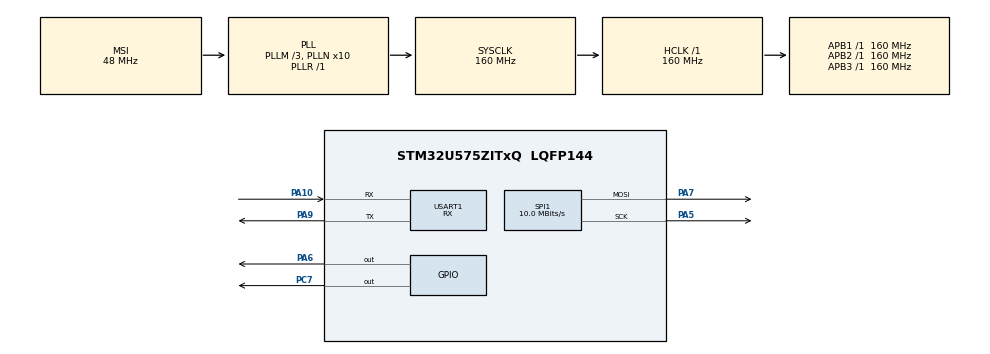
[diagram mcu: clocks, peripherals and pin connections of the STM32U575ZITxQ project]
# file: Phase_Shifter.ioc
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CORTEX_M33_NS.userName=CORTEX_M33
Mcu.Family=STM32U5
Mcu.Name=STM32U575ZITxQ
Mcu.Package=LQFP144
NVIC.PriorityGroup=NVIC_PRIORITYGROUP_3
NVIC.USART1_IRQn=true\:0\:0\:false\:false\:true\:true\:true\:true
PA10.Mode=Asynchronous
PA10.Signal=USART1_RX
PA10.TagName=VCP_RX
PA13\ (JTMS/SWDIO).Mode=Serial_Wire
PA13\ (JTMS/SWDIO).Signal=DEBUG_JTMS-SWDIO
PA14\ (JTCK/SWCLK).Mode=Serial_Wire
PA14\ (JTCK/SWCLK).Signal=DEBUG_JTCK-SWCLK
PA5.Mode=TX_Only_Simplex_Unidirect_Master
PA5.Signal=SPI1_SCK
PA6.GPIO_Speed=GPIO_SPEED_FREQ_VERY_HIGH
PA6.Signal=GPIO_Output
PA7.Mode=TX_Only_Simplex_Unidirect_Master
PA7.Signal=SPI1_MOSI
PA9.Mode=Asynchronous
PA9.Signal=USART1_TX
PA9.TagName=VCP_TX
PC7.Signal=GPIO_Output
PWR.PowerMode=PWR_SMPS_SUPPLY
ProjectManager.HeapSize=0x200
ProjectManager.StackSize=0x400
ProjectManager.TargetToolchain=STM32CubeIDE
RCC.ADCFreq_Value=16000000
RCC.AHBFreq_Value=160000000
RCC.APB1Freq_Value=160000000
RCC.APB1TimFreq_Value=160000000
RCC.APB2Freq_Value=160000000
RCC.APB2TimFreq_Value=160000000
RCC.APB3Freq_Value=160000000
RCC.CortexFreq_Value=160000000
RCC.DACCLockSelectionVirtual=RCC_DAC1CLKSOURCE_LSI
RCC.EPOD_VALUE=48000000
RCC.HCLKFreq_Value=160000000
RCC.HSE_VALUE=16000000
RCC.HSI48_VALUE=48000000
RCC.HSI_VALUE=16000000
RCC.LSE_VALUE=32768
RCC.LSIDIV_VALUE=32000
RCC.MSIClockRange=RCC_MSIRANGE_0
RCC.MSI_VALUE=48000000
RCC.PLL1R=1
RCC.PLL2FRACN=0
RCC.PLL3FRACN=0
RCC.PLLFRACN=0
RCC.PLLM=3
RCC.PLLN=10
RCC.SYSCLKFreq_VALUE=160000000
RCC.SYSCLKSource=RCC_SYSCLKSOURCE_PLLCLK
RCC.USBFreq_Value=48000000
RCC.VCOOutputFreq_Value=160000000
SPI1.BaudRatePrescaler=SPI_BAUDRATEPRESCALER_16
SPI1.CalculateBaudRate=10.0 MBits/s
SPI1.DataSize=SPI_DATASIZE_16BIT
SPI1.Direction=SPI_DIRECTION_2LINES_TXONLY
SPI1.FirstBit=SPI_FIRSTBIT_LSB
SPI1.Mode=SPI_MODE_MASTER
SPI1.VirtualType=VM_MASTER
USART1.Mode=MODE_RX
USART1.VirtualMode-Asynchronous=VM_ASYNC
VP_ICACHE_VS_ICACHE.Mode=DirectMappedCache
VP_LPBAMQUEUE_VS_QUEUE.Mode=QUEUEMODE
VP_LPBAM_VS_SIG1.Mode=SmartRun
VP_LPBAM_VS_SIG4.Mode=LPDMA1
VP_MEMORYMAP_VS_MEMORYMAP.Mode=CurAppReg
VP_PWR_VS_LPOM.Mode=PowerOptimisation
VP_PWR_VS_SECSignals.Mode=Security/Privilege
board=NUCLEO-U575ZI-Q

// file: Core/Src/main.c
/* USER CODE BEGIN Header */
/**
  ******************************************************************************
  * @file           : main.c
  * @brief          : Main program body
  ******************************************************************************
  * @attention
  *
  * Copyright (c) 2026 STMicroelectronics.
  * All rights reserved.
  *
  * This software is licensed under terms that can be found in the LICENSE file
  * in the root directory of this software component.
  * If no LICENSE file comes with this software, it is provided AS-IS.
  *
  ******************************************************************************
  */
/* USER CODE END Header */
#include "main.h"

SPI_HandleTypeDef hspi1;

UART_HandleTypeDef huart1;

/* USER CODE BEGIN PV */
uint8_t rx_buffer[16]; //raw bytes from GUI
uint16_t spi_buf1[16]; //processed words for channel 1
/* USER CODE END PV */

void SystemClock_Config(void);
static void SystemPower_Config(void);
static void MX_GPIO_Init(void);
static void MX_SPI1_Init(void);
static void MX_ICACHE_Init(void);
static void MX_USART1_UART_Init(void);
/* USER CODE BEGIN PFP */
void ProcessPhases(uint8_t *raw);
void RunSpiBurst(void);
/* USER CODE END PFP */

/* USER CODE BEGIN 0 */
void ProcessPhases(uint8_t *raw){
	for (int i = 0; i < 16; i++){
		uint8_t phase = raw[i];
		//bit packaging logic form control word
		uint16_t control_word = ((i << 9) | ((phase & 0x40) << 2) | phase) << 3;
		spi_buf1[i] = control_word;
	}
}

void RunSpiBurst(void){
    for (int step = 0; step < 16; step++){
        // Pass the ADDRESS (&), and send 1 item per step
        HAL_SPI_Transmit(&hspi1, (uint8_t *)&spi_buf1[step], 1, 10);

        // Pulse the latch AFTER EACH word is sent
        __NOP();__NOP();__NOP();
        GPIOA->BSRR = GPIO_BSRR_BS6; // Set PD15 High
        __NOP(); __NOP(); __NOP(); __NOP(); __NOP(); __NOP();
        GPIOA->BSRR = GPIO_BSRR_BR6; // Set PD15 Low
        __NOP();__NOP();__NOP();

    }
}

/* USER CODE END 0 */

int main(void)
{

  /* MCU Configuration--------------------------------------------------------*/

  /* Reset of all peripherals, Initializes the Flash interface and the Systick. */
  HAL_Init();

  /* Configure the System Power */
  SystemPower_Config();

  /* Configure the system clock */
  SystemClock_Config();

  /* Initialize all configured peripherals */
  MX_GPIO_Init();
  MX_SPI1_Init();
  MX_ICACHE_Init();
  MX_USART1_UART_Init();

  /* Infinite loop */
  /* USER CODE BEGIN WHILE */
  while (1)
  {
	  if(HAL_UART_Receive(&huart1, rx_buffer, 16, HAL_MAX_DELAY)==HAL_OK){
		  HAL_GPIO_TogglePin(GPIOC, GPIO_PIN_7);//show activity
		  //run logic
		  ProcessPhases(rx_buffer);
		  RunSpiBurst();
	  }
  }
    /* USER CODE END WHILE */

}

void SystemClock_Config(void)
{
  RCC_OscInitTypeDef RCC_OscInitStruct = {0};
  RCC_ClkInitTypeDef RCC_ClkInitStruct = {0};

  /** Configure the main internal regulator output voltage
  */
  if (HAL_PWREx_ControlVoltageScaling(PWR_REGULATOR_VOLTAGE_SCALE1) != HAL_OK)
  {
    Error_Handler();
  }

  /** Initializes the CPU, AHB and APB buses clocks
  */
  RCC_OscInitStruct.OscillatorType = RCC_OSCILLATORTYPE_MSI;
  RCC_OscInitStruct.MSIState = RCC_MSI_ON;
  RCC_OscInitStruct.MSICalibrationValue = RCC_MSICALIBRATION_DEFAULT;
  RCC_OscInitStruct.MSIClockRange = RCC_MSIRANGE_0;
  RCC_OscInitStruct.PLL.PLLState = RCC_PLL_ON;
  RCC_OscInitStruct.PLL.PLLSource = RCC_PLLSOURCE_MSI;
  RCC_OscInitStruct.PLL.PLLMBOOST = RCC_PLLMBOOST_DIV4;
  RCC_OscInitStruct.PLL.PLLM = 3;
  RCC_OscInitStruct.PLL.PLLN = 10;
  RCC_OscInitStruct.PLL.PLLP = 2;
  RCC_OscInitStruct.PLL.PLLQ = 2;
  RCC_OscInitStruct.PLL.PLLR = 1;
  RCC_OscInitStruct.PLL.PLLRGE = RCC_PLLVCIRANGE_1;
  RCC_OscInitStruct.PLL.PLLFRACN = 0;
  if (HAL_RCC_OscConfig(&RCC_OscInitStruct) != HAL_OK)
  {
    Error_Handler();
  }

  /** Initializes the CPU, AHB and APB buses clocks
  */
  RCC_ClkInitStruct.ClockType = RCC_CLOCKTYPE_HCLK|RCC_CLOCKTYPE_SYSCLK
                              |RCC_CLOCKTYPE_PCLK1|RCC_CLOCKTYPE_PCLK2
                              |RCC_CLOCKTYPE_PCLK3;
  RCC_ClkInitStruct.SYSCLKSource = RCC_SYSCLKSOURCE_PLLCLK;
  RCC_ClkInitStruct.AHBCLKDivider = RCC_SYSCLK_DIV1;
  RCC_ClkInitStruct.APB1CLKDivider = RCC_HCLK_DIV1;
  RCC_ClkInitStruct.APB2CLKDivider = RCC_HCLK_DIV1;
  RCC_ClkInitStruct.APB3CLKDivider = RCC_HCLK_DIV1;

  if (HAL_RCC_ClockConfig(&RCC_ClkInitStruct, FLASH_LATENCY_4) != HAL_OK)
  {
    Error_Handler();
  }
}

/**
  * @brief Power Configuration
  * @retval None
  */
static void SystemPower_Config(void)
{

  /*
   * Switch to SMPS regulator instead of LDO
   */
  if (HAL_PWREx_ConfigSupply(PWR_SMPS_SUPPLY) != HAL_OK)
  {
    Error_Handler();
  }
}

static void MX_ICACHE_Init(void)
{

  /** Enable instruction cache in 1-way (direct mapped cache)
  */
  if (HAL_ICACHE_ConfigAssociativityMode(ICACHE_1WAY) != HAL_OK)
  {
    Error_Handler();
  }
  if (HAL_ICACHE_Enable() != HAL_OK)
  {
    Error_Handler();
  }

}

static void MX_SPI1_Init(void)
{

  SPI_AutonomousModeConfTypeDef HAL_SPI_AutonomousMode_Cfg_Struct = {0};

  /* SPI1 parameter configuration*/
  hspi1.Instance = SPI1;
  hspi1.Init.Mode = SPI_MODE_MASTER;
  hspi1.Init.Direction = SPI_DIRECTION_2LINES_TXONLY;
  hspi1.Init.DataSize = SPI_DATASIZE_16BIT;
  hspi1.Init.CLKPolarity = SPI_POLARITY_LOW;
  hspi1.Init.CLKPhase = SPI_PHASE_1EDGE;
  hspi1.Init.NSS = SPI_NSS_SOFT;
  hspi1.Init.BaudRatePrescaler = SPI_BAUDRATEPRESCALER_16;
  hspi1.Init.FirstBit = SPI_FIRSTBIT_LSB;
  hspi1.Init.TIMode = SPI_TIMODE_DISABLE;
  hspi1.Init.CRCCalculation = SPI_CRCCALCULATION_DISABLE;
  hspi1.Init.CRCPolynomial = 0x7;
  hspi1.Init.NSSPMode = SPI_NSS_PULSE_ENABLE;
  hspi1.Init.NSSPolarity = SPI_NSS_POLARITY_LOW;
  hspi1.Init.FifoThreshold = SPI_FIFO_THRESHOLD_01DATA;
  hspi1.Init.MasterSSIdleness = SPI_MASTER_SS_IDLENESS_00CYCLE;
  hspi1.Init.MasterInterDataIdleness = SPI_MASTER_INTERDATA_IDLENESS_00CYCLE;
  hspi1.Init.MasterReceiverAutoSusp = SPI_MASTER_RX_AUTOSUSP_DISABLE;
  hspi1.Init.MasterKeepIOState = SPI_MASTER_KEEP_IO_STATE_DISABLE;
  hspi1.Init.IOSwap = SPI_IO_SWAP_DISABLE;
  hspi1.Init.ReadyMasterManagement = SPI_RDY_MASTER_MANAGEMENT_INTERNALLY;
  hspi1.Init.ReadyPolarity = SPI_RDY_POLARITY_HIGH;
  if (HAL_SPI_Init(&hspi1) != HAL_OK)
  {
    Error_Handler();
  }
  HAL_SPI_AutonomousMode_Cfg_Struct.TriggerState = SPI_AUTO_MODE_DISABLE;
  HAL_SPI_AutonomousMode_Cfg_Struct.TriggerSelection = SPI_GRP1_GPDMA_CH0_TCF_TRG;
  HAL_SPI_AutonomousMode_Cfg_Struct.TriggerPolarity = SPI_TRIG_POLARITY_RISING;
  if (HAL_SPIEx_SetConfigAutonomousMode(&hspi1, &HAL_SPI_AutonomousMode_Cfg_Struct) != HAL_OK)
  {
    Error_Handler();
  }

}

static void MX_USART1_UART_Init(void)
{

  huart1.Instance = USART1;
  huart1.Init.BaudRate = 115200;
  huart1.Init.WordLength = UART_WORDLENGTH_8B;
  huart1.Init.StopBits = UART_STOPBITS_1;
  huart1.Init.Parity = UART_PARITY_NONE;
  huart1.Init.Mode = UART_MODE_RX;
  huart1.Init.HwFlowCtl = UART_HWCONTROL_NONE;
  huart1.Init.OverSampling = UART_OVERSAMPLING_16;
  huart1.Init.OneBitSampling = UART_ONE_BIT_SAMPLE_DISABLE;
  huart1.Init.ClockPrescaler = UART_PRESCALER_DIV1;
  huart1.AdvancedInit.AdvFeatureInit = UART_ADVFEATURE_NO_INIT;
  if (HAL_UART_Init(&huart1) != HAL_OK)
  {
    Error_Handler();
  }
  if (HAL_UARTEx_SetTxFifoThreshold(&huart1, UART_TXFIFO_THRESHOLD_1_8) != HAL_OK)
  {
    Error_Handler();
  }
  if (HAL_UARTEx_SetRxFifoThreshold(&huart1, UART_RXFIFO_THRESHOLD_1_8) != HAL_OK)
  {
    Error_Handler();
  }
  if (HAL_UARTEx_DisableFifoMode(&huart1) != HAL_OK)
  {
    Error_Handler();
  }

}

static void MX_GPIO_Init(void)
{
  GPIO_InitTypeDef GPIO_InitStruct = {0};

  /* GPIO Ports Clock Enable */
  __HAL_RCC_GPIOA_CLK_ENABLE();
  __HAL_RCC_GPIOC_CLK_ENABLE();

  /*Configure GPIO pin Output Level */
  HAL_GPIO_WritePin(GPIOA, GPIO_PIN_6, GPIO_PIN_RESET);

  /*Configure GPIO pin Output Level */
  HAL_GPIO_WritePin(GPIOC, GPIO_PIN_7, GPIO_PIN_RESET);

  /*Configure GPIO pin : PA6 */
  GPIO_InitStruct.Pin = GPIO_PIN_6;
  GPIO_InitStruct.Mode = GPIO_MODE_OUTPUT_PP;
  GPIO_InitStruct.Pull = GPIO_NOPULL;
  GPIO_InitStruct.Speed = GPIO_SPEED_FREQ_VERY_HIGH;
  HAL_GPIO_Init(GPIOA, &GPIO_InitStruct);

  /*Configure GPIO pin : PC7 */
  GPIO_InitStruct.Pin = GPIO_PIN_7;
  GPIO_InitStruct.Mode = GPIO_MODE_OUTPUT_PP;
  GPIO_InitStruct.Pull = GPIO_NOPULL;
  GPIO_InitStruct.Speed = GPIO_SPEED_FREQ_LOW;
  HAL_GPIO_Init(GPIOC, &GPIO_InitStruct);

}

void Error_Handler(void)
{
  __disable_irq();
  while (1)
  {
  }
}
